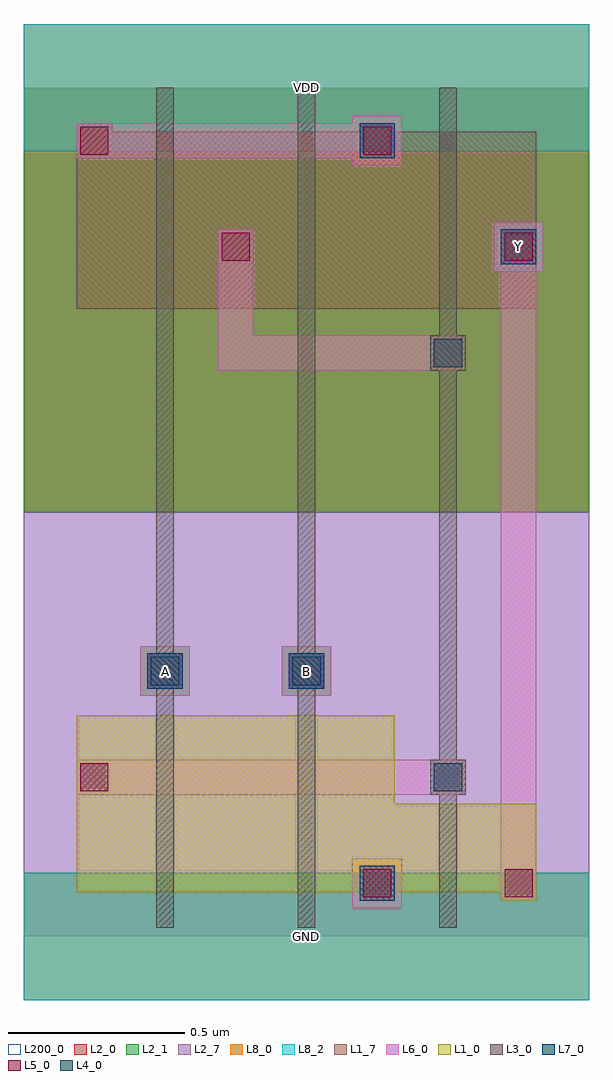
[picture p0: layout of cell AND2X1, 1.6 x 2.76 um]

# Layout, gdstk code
import gdstk
lib = gdstk.Library(unit=1e-6, precision=1e-09)
def R(c, l, rs):  # rectangles x0, y0, x1, y1
    for r in rs: c.add(gdstk.rectangle(r[:2], r[2:], *l))
def P(c, l, *ps):  # polygons
    for p in ps: c.add(gdstk.Polygon(p, *l))
L1_0 = (1, 0)
L1_7 = (1, 7)
L2_0 = (2, 0)
L2_1 = (2, 1)
L2_7 = (2, 7)
L3_0 = (3, 0)
L4_0 = (4, 0)
L5_0 = (5, 0)
L6_0 = (6, 0)
L7_0 = (7, 0)
L8_0 = (8, 0)
L8_2 = (8, 2)
L200_0 = (200, 0)

and2x1 = lib.new_cell('AND2X1')
P(and2x1, L1_0, [(0.95,0.1),(0.95,0.125),(0.15,0.125),(0.15,0.625),(1.05,0.625),(1.05,0.375),(1.45,0.375),(1.45,0.1),(1.35,0.1),(1.35,0.125),(1.05,0.125),(1.05,0.1)])
P(and2x1, L1_7, [(0.15,1.775),(0.15,2.3),(0.25,2.3),(0.25,2.275),(0.95,2.275),(0.95,2.3),(1.05,2.3),(1.05,2.275),(1.45,2.275),(1.45,1.775)])
R(and2x1, L2_0, [(0,1.2,1.6,2.4)])
R(and2x1, L2_1, [(0,1.2,1.6,2.4)])
R(and2x1, L2_7, [(0,0,1.6,1.2)])
P(and2x1, L3_0, [(0.375,0.025),(0.375,0.7),(0.35,0.7),(0.35,0.8),(0.375,0.8),(0.375,2.4),(0.425,2.4),(0.425,0.8),(0.45,0.8),(0.45,0.7),(0.425,0.7),(0.425,0.025)],
  [(0.775,0.025),(0.775,0.7),(0.75,0.7),(0.75,0.8),(0.775,0.8),(0.775,2.4),(0.825,2.4),(0.825,0.8),(0.85,0.8),(0.85,0.7),(0.825,0.7),(0.825,0.025)],
  [(1.175,0.025),(1.175,0.4),(1.15,0.4),(1.15,0.5),(1.175,0.5),(1.175,1.6),(1.15,1.6),(1.15,1.7),(1.175,1.7),(1.175,2.4),(1.225,2.4),(1.225,1.7),(1.25,1.7),(1.25,1.6),(1.225,1.6),(1.225,0.5),(1.25,0.5),(1.25,0.4),(1.225,0.4),(1.225,0.025)])
R(and2x1, L4_0, [(1.16,0.41,1.24,0.49), (0.36,0.71,0.44,0.79), (0.76,0.71,0.84,0.79), (1.16,1.61,1.24,1.69)])
R(and2x1, L5_0, [(0.96,0.11,1.04,0.19), (1.36,0.11,1.44,0.19), (0.16,0.41,0.24,0.49), (0.56,1.91,0.64,1.99), (1.36,1.91,1.44,1.99), (0.16,2.21,0.24,2.29), (0.96,2.21,1.04,2.29)])
R(and2x1, L6_0, [(0.93,0.08,1.07,0.22), (0.15,0.4,1.25,0.5), (0.33,0.68,0.47,0.82), (0.73,0.68,0.87,0.82)])
P(and2x1, L6_0, [(0.55,1.6),(0.55,2),(0.65,2),(0.65,1.7),(1.25,1.7),(1.25,1.6)],
  [(1.35,0.1),(1.35,1.88),(1.33,1.88),(1.33,2.02),(1.47,2.02),(1.47,1.88),(1.45,1.88),(1.45,0.1)],
  [(0.93,2.18),(0.93,2.2),(0.15,2.2),(0.15,2.3),(0.93,2.3),(0.93,2.32),(1.07,2.32),(1.07,2.18)])
R(and2x1, L7_0, [(0.95,0.1,1.05,0.2), (0.35,0.7,0.45,0.8), (0.75,0.7,0.85,0.8), (1.35,1.9,1.45,2), (0.95,2.2,1.05,2.3)])
R(and2x1, L8_0, [(0.33,0.68,0.47,0.82), (0.73,0.68,0.87,0.82), (1.33,1.88,1.47,2.02)])
P(and2x1, L8_0, [(0,-0.18),(0,0.18),(0.93,0.18),(0.93,0.22),(1.07,0.22),(1.07,0.18),(1.6,0.18),(1.6,-0.18)],
  [(0.93,2.18),(0.93,2.22),(0,2.22),(0,2.58),(1.6,2.58),(1.6,2.22),(1.07,2.22),(1.07,2.18)])
R(and2x1, L8_2, [(0.33,0.68,0.47,0.82), (0.73,0.68,0.87,0.82), (1.33,1.88,1.47,2.02)])
R(and2x1, L200_0, [(0,0,1.6,2.4)])
and2x1.add(gdstk.FlexPath([(0,2.4),(1.6,2.4)], 0.36, ends="flush", simple_path=True, layer=8, datatype=2))  # L8_2
and2x1.add(gdstk.FlexPath([(0,0),(1.6,0)], 0.36, ends="flush", simple_path=True, layer=8, datatype=2))  # L8_2
and2x1.add(gdstk.Label('A', (0.4,0.75), layer=8, texttype=1))
and2x1.add(gdstk.Label('B', (0.8,0.75), layer=8, texttype=1))
and2x1.add(gdstk.Label('Y', (1.4,1.95), layer=8, texttype=1))
and2x1.add(gdstk.Label('GND', (0.8,0), layer=8, texttype=1))
and2x1.add(gdstk.Label('VDD', (0.8,2.4), layer=8, texttype=1))

lib.write_gds('AND2X1.gds')
